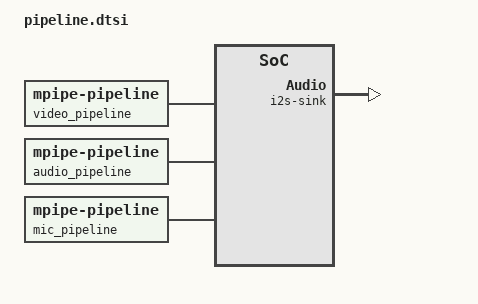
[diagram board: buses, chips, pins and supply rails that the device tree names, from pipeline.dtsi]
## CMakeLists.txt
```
# Copyright 2024-2026 NXP
# SPDX-License-Identifier: Apache-2.0

cmake_minimum_required(VERSION 3.20.0)

find_package(Zephyr REQUIRED HINTS $ENV{ZEPHYR_BASE})
project(android_link)

target_sources(app PRIVATE
  src/main.c
  src/touch.c
  src/display.c
  src/control_msg.c
)
target_sources_ifdef(CONFIG_ANDROID_LINK_MIC app PRIVATE src/mic_mode.c)

target_include_directories(app PRIVATE src)

if(CONFIG_NET_STACK_CODE_RELOCATE)
  # Relocate the networking stack and the L2 layer into the RAM named by
  # CONFIG_NET_STACK_CODE_RAM_NAME (ITCM on the RT1170), as the original demo does.
  zephyr_code_relocate(LIBRARY subsys__net__ip
    LOCATION "${CONFIG_NET_STACK_CODE_RAM_NAME}_TEXT" NOKEEP)
  zephyr_code_relocate(LIBRARY subsys__net
    LOCATION "${CONFIG_NET_STACK_CODE_RAM_NAME}_TEXT" NOKEEP)
  if(CONFIG_NET_L2_ETHERNET)
    zephyr_code_relocate(LIBRARY drivers__ethernet
      LOCATION "${CONFIG_NET_STACK_CODE_RAM_NAME}_TEXT" NOKEEP)
    zephyr_code_relocate(LIBRARY subsys__net__l2__ethernet
      LOCATION "${CONFIG_NET_STACK_CODE_RAM_NAME}_TEXT" NOKEEP)
  endif()
endif()
```

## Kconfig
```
# Copyright 2024-2026 NXP
# SPDX-License-Identifier: Apache-2.0

DT_CHOSEN_Z_DISPLAY := zephyr,display
DT_DISPLAY_PATH := $(dt_chosen_path,$(DT_CHOSEN_Z_DISPLAY))
DT_DISPLAY_WIDTH := $(dt_node_int_prop_int,$(DT_DISPLAY_PATH),width)
DT_DISPLAY_HEIGHT := $(dt_node_int_prop_int,$(DT_DISPLAY_PATH),height)
# A frame of the panel's size in RGB565
DT_DISPLAY_FRAME_SIZE := $(mul,$(mul,$(DT_DISPLAY_WIDTH),$(DT_DISPLAY_HEIGHT)),2)

# The decoder's pool holds frames of the panel's size
config MPIPE_IMG_JPEG_DECODER_MAX_OUT_FRAME_SIZE
	default $(DT_DISPLAY_FRAME_SIZE) if $(dt_chosen_enabled,$(DT_CHOSEN_Z_DISPLAY))

source "Kconfig.zephyr"

config NET_STACK_CODE_RELOCATE
	bool "Relocate networking code into RAM"
	select CODE_DATA_RELOCATION
	help
	  Relocate networking code into RAM. Can improve performance on
	  platforms with fast code RAM.

if NET_STACK_CODE_RELOCATE

config NET_STACK_CODE_RAM_NAME
	string "Networking code RAM location"
	default "RAM"
	help
	  Region to relocate networking code to

endif # NET_STACK_CODE_RELOCATE

config ANDROID_LINK_AUDIO
	bool "Play the phone's audio"
	default y
	depends on MPIPE_AUD
	help
	  Accept the phone's audio connection and play the raw PCM it carries
	  through a second pipeline ending in the I2S codec sink. The phone
	  must be launched with audio enabled and the raw codec.

config ANDROID_LINK_MIC
	bool "Send the board's microphone to the phone"
	default y
	depends on MPIPE_AUD && AUDIO_DMIC
	help
	  Accept a fourth connection from the phone, after the control one,
	  and send it the board's microphone as raw PCM, 16 kHz, 32-bit, two
	  channels, through a third pipeline from the DMIC source to a socket
	  sink. What the phone does with the stream, play it on its speaker,
	  feed it to the applications recording from its microphone, or drop
	  it, is set by a control message. The phone must be launched with the
	  microphone channel enabled.

config ANDROID_LINK_PORT
	int "TCP port the board listens on"
	range 1 65535
	default 5000
	help
	  Port of the listening socket the phone's server connects to for the
	  video, audio, control and microphone streams (REMOTE_PORT in its
	  launch script).

if WIFI

config ANDROID_LINK_WIFI_SSID
	string "Name of the board's Wi-Fi network"
	default "zephyr-link"
	help
	  SSID of the soft-AP the board starts. The phone's server joins it
	  by itself when launched with the same name (WIFI_SSID).

config ANDROID_LINK_WIFI_PSK
	string "Passphrase of the board's Wi-Fi network"
	default "zephyrdemo"
	help
	  WPA2 passphrase of the soft-AP, at least 8 characters; empty for an
	  open network. The phone's server needs the same value (WIFI_PSK).

endif # WIFI

choice
	prompt "Control Event protocol"
	default CONTROL_EVENT_TCP

config CONTROL_EVENT_UDP
	bool "Control UDP protocol"
	help
	  Control events are reported using the UDP protocol.

config CONTROL_EVENT_TCP
	bool "Control TCP protocol"
	help
	  Touch events are reported using the TCP protocol.

endchoice
```

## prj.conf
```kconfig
#
# Copyright 2024-2026 NXP
#
# SPDX-License-Identifier: Apache-2.0
#

# Kernel options
CONFIG_MAIN_STACK_SIZE=8192
CONFIG_INIT_STACKS=y

# Shell
CONFIG_SHELL=y
CONFIG_NET_SHELL=y
CONFIG_DEVICE_SHELL=y

# Logging
CONFIG_PRINTK=y
CONFIG_LOG=y
CONFIG_NET_LOG=y

# Display
CONFIG_DISPLAY=y

# mpipe media pipeline framework
# Audio capabilities carry five fields; an intersection may hold one more
CONFIG_MPIPE_STRUCTURE_MAX_FIELDS=6
# Video: the source and two queues; audio and microphone: a source and a queue
# each; plus slack
CONFIG_MPIPE_THREADS_NUM=10
CONFIG_MPIPE_THREAD_STACK_SIZE=4096
# The overlay draws the demo's messages on the frames; its text comes from the
# character framebuffer's built-in bitmap fonts
CONFIG_CHARACTER_FRAMEBUFFER=y
CONFIG_CHARACTER_FRAMEBUFFER_USE_DEFAULT_FONTS=y
# One player per pipeline: video, audio and microphone
CONFIG_ZBUS_PRIORITY_BOOST=n

# Audio output: the I2S codec sink, fed 10 ms blocks of 48 kHz 16-bit stereo
# (1920 bytes) from a slab of up to 32 of them: 15 queued, up to 16 in the I2S
# driver's queue, the one being filled.
CONFIG_I2S=y
CONFIG_AUDIO_CODEC=y
CONFIG_MPIPE_AUD_BUFFER_POOL_SZ_MAX=4096
CONFIG_MPIPE_AUD_BUFFER_POOL_NUM_MAX=32

# Microphone input: the DMIC source, 10 ms blocks of 16 kHz 32-bit mono (640
# bytes) from a slab of its own: the driver's queue, 10 queued, slack. Two
# slabs, one per audio pipeline, each with a slice of the store.
CONFIG_AUDIO_DMIC=y
CONFIG_MPIPE_AUD_BUFFER_POOL_COUNT=2

# Longest JPEG frame accepted, and the size of the parser's copy buffers. A
# text-heavy phone screen compresses to well over 256 KB. The decoded frames
# are sized for the panel by the sample's Kconfig.
CONFIG_MPIPE_IMG_JPEG_PARSER_MAX_FRAME_SIZE=524288

# A frame inside one receive chunk reaches the decoder as a view of the chunk;
# only a frame split across two chunks is copied into one of these buffers.
CONFIG_MPIPE_IMG_JPEG_PARSER_POOL_NUM=4

# Buffer headers in flight across the three pipelines: the video views
# (pending input pieces, frames in the queues and in the decoder, decoded
# frames), the audio blocks in the audio queue and the I2S driver, the
# microphone blocks in the DMIC driver and the microphone queue, plus slack.
CONFIG_MPIPE_NET_BUF_POOL_COUNT=64

# Decoded frames in flight: one being decoded, one waiting in queue_dec, one
# being displayed, plus slack for a chain of frames decoded from one read.
CONFIG_MPIPE_IMG_JPEG_DECODER_POOL_NUM=6

# The queues between the threads are bounded and leak their oldest buffer
# (see main.c); this is the largest size a queue may be set to, the audio one.
CONFIG_MPIPE_BASE_QUEUE_MAX_SIZE=16

# The stream is received into 256 KB chunks, two to three frames each, and
# every frame inside a chunk reaches the decoder as a view of it. Four chunks:
# one being filled, one or two pinned by frames waiting or being decoded.
CONFIG_MPIPE_NET_SRC_BUF_SIZE=262144
CONFIG_MPIPE_NET_SRC_NUM_BUFS=4


# Generic networking options
CONFIG_NETWORKING=y
CONFIG_NET_STATISTICS=y
CONFIG_NET_TC_TX_COUNT=1
CONFIG_NET_SOCKETS=y
CONFIG_NET_SOCKETS_SERVICE_THREAD_PRIO=3

CONFIG_NET_IPV6=n
CONFIG_NET_IPV4=y
CONFIG_NET_IF_UNICAST_IPV4_ADDR_COUNT=1
CONFIG_NET_IF_MAX_IPV4_COUNT=2

CONFIG_NET_TCP=y
# Probe a silent phone: a Wi-Fi drop closes nothing by itself
CONFIG_NET_TCP_KEEPALIVE=y

# DHCPV4 Server & interface
CONFIG_NET_DHCPV4=y
CONFIG_NET_DHCPV4_SERVER=y

CONFIG_NET_CONTEXT_NET_PKT_POOL=y
CONFIG_NET_MAX_CONTEXTS=64

# Packet pools for the Ethernet and native_sim builds; overlay-wifi.conf sets
# larger ones. The defaults, 36 buffers of 128 bytes each way, hold under
# 5 KB: too little for a megabyte per second of video coming in and the
# microphone's 64 KB/s going out beside the acknowledgements.
CONFIG_NET_PKT_RX_COUNT=32
CONFIG_NET_PKT_TX_COUNT=32
CONFIG_NET_BUF_RX_COUNT=64
CONFIG_NET_BUF_TX_COUNT=64
CONFIG_NET_BUF_DATA_SIZE=1024

CONFIG_NET_MAX_CONN=64
CONFIG_NET_L2_ETHERNET=y

CONFIG_NET_CONFIG_SETTINGS=y
CONFIG_NET_CONFIG_MY_IPV4_ADDR="192.0.2.1"
CONFIG_NET_CONFIG_MY_IPV4_NETMASK="255.255.255.0"

CONFIG_SHELL_CMDS_RESIZE=n

CONFIG_CACHE_MANAGEMENT=y
CONFIG_SPEED_OPTIMIZATIONS=y

CONFIG_EVENTS=y

# Optimization for network
CONFIG_SYSTEM_WORKQUEUE_STACK_SIZE=4096
CONFIG_NET_TCP_WORKQ_STACK_SIZE=4096
CONFIG_NET_SOCKETS_SERVICE_STACK_SIZE=4096
CONFIG_NET_RX_STACK_SIZE=4096
CONFIG_NET_TX_STACK_SIZE=4096
CONFIG_NET_MGMT_EVENT_STACK_SIZE=4096

# Config Input: the touch controller and the user button
CONFIG_INPUT=y
CONFIG_GPIO=y
CONFIG_INPUT_GT911_MAX_TOUCH_POINTS=5
CONFIG_INPUT_QUEUE_MAX_MSGS=128
# The input thread runs the touch and button callbacks, a few comparisons and
# a queue put each. Above the audio (4) and video (5, decoder 6) threads: at
# Zephyr's default, the lowest priority, the decoder starved it, its queue
# filled with a finger's 4 events per 10 ms poll and releases were dropped.
CONFIG_INPUT_THREAD_PRIORITY_OVERRIDE=y
CONFIG_INPUT_THREAD_PRIORITY=3
CONFIG_NET_SOCKET_MAX_SEND_WAIT=10
```

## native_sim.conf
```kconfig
# Copyright 2026 NXP
# SPDX-License-Identifier: Apache-2.0
#
# Host-run convenience overlay for native_sim, applied by run_native_sim.sh.
# It is not used by a board build, so it changes nothing on the RT1170 target.

# Bind the native pty UART, and with it the Zephyr shell, to the process stdin
# and stdout rather than a separate pseudo-tty. The interactive player prompt
# (p/s/r/q) then appears in the terminal that launched the script.
CONFIG_UART_NATIVE_PTY_0_ON_STDINOUT=y

# With the shell sharing that one terminal, route the log output through the
# shell backend so log lines are serialized with the prompt instead of
# interleaving with and corrupting the line being typed.
CONFIG_SHELL_LOG_BACKEND=y
```

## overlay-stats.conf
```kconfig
# Copyright 2026 NXP
# SPDX-License-Identifier: Apache-2.0
#
# Investigation aid: per-thread CPU accounting and stack usage from the shell
# ("kernel threads", "kernel stacks", "net stats"), with a log buffer large
# enough for the per-second stage statistics. Logging stays deferred: in
# immediate mode every thread writes to the console itself, and a burst of
# errors then stalls the threads behind a 115200 baud UART.

CONFIG_THREAD_RUNTIME_STATS=y
CONFIG_THREAD_NAME=y
CONFIG_THREAD_MONITOR=y
CONFIG_THREAD_STACK_INFO=y
CONFIG_INIT_STACKS=y
CONFIG_KERNEL_SHELL=y
CONFIG_NET_SHELL=y
CONFIG_LOG_BUFFER_SIZE=8192

# The per-second stage statistics (socket source, parser, decoder, display sink)
CONFIG_MPIPE_STAGE_STATS=y
```

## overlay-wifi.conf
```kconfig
#
# Copyright 2024-2026 NXP
#
# SPDX-License-Identifier: Apache-2.0
#

# Zephyr Wi-Fi configuration for MURATA IW61x

# Config WIFI
CONFIG_WIFI=y
CONFIG_NXP_WIFI_SOFTAP_SUPPORT=y
CONFIG_ETH_NXP_ENET=n
CONFIG_MDIO_NXP_ENET=n
CONFIG_ETH_PHY_DRIVER=n
CONFIG_WIFI_NXP=y
CONFIG_NXP_IW61X=y
CONFIG_NXP_WIFI_SHELL=y
CONFIG_NXP_IW612_MURATA_2EL_M2=y
CONFIG_NET_DHCPV4_SERVER_ADDR_COUNT=32
CONFIG_NET_DHCPV4_SERVER_ICMP_PROBE_TIMEOUT=100
CONFIG_NET_L2_WIFI_SHELL=y
CONFIG_NET_L2_WIFI_MGMT=y

CONFIG_THREAD_CUSTOM_DATA=y
CONFIG_EVENTS=y
CONFIG_SYS_HEAP_AUTO=y
CONFIG_SCHED_MULTIQ=y

#firmware
CONFIG_NXP_MONOLITHIC_WIFI=y

# wifi driver
CONFIG_WIFI_SHELL_MAX_AP_STA=8
CONFIG_WIFI_MGMT_AP_MAX_NUM_STA=8
CONFIG_NXP_WIFI_TX_TASK_STACK_SIZE=4096
CONFIG_NXP_WIFI_DRIVER_TASK_STACK_SIZE=4096
CONFIG_NXP_WIFI_POWERSAVE_TASK_STACK_SIZE=4096
# net threads priority
CONFIG_IDLE_STACK_SIZE=1024

CONFIG_NET_MGMT_EVENT_QUEUE_SIZE=40

CONFIG_NET_CONFIG_AUTO_INIT=n

# CONFIG_WIFI_LOG_LEVEL_DBG=y
# CONFIG_NXP_WIFI_EXTRA_DEBUG=y
# CONFIG_NXP_WIFI_NET_DEBUG=y
# CONFIG_NXP_WIFI_WLCMGR_DEBUG=y
# CONFIG_NXP_WIFI_UAP_DEBUG=y
# CONFIG_NXP_WIFI_PKT_DEBUG=y

CONFIG_NXP_WIFI_SOFTAP_IP_ADDRESS="192.0.2.1"
CONFIG_NXP_WIFI_SOFTAP_IP_GATEWAY="192.0.2.1"
CONFIG_NXP_WIFI_SOFTAP_IP_MASK="255.255.255.0"
# DHCPv4 pool base must not overlap the soft-AP/server address (192.0.2.1).
CONFIG_NXP_WIFI_SOFTAP_IP_BASE="192.0.2.10"

# Lets the NXP Wi-Fi driver move its receive and transmit paths into the TCMs.
CONFIG_CODE_DATA_RELOCATION_SRAM=y

CONFIG_NET_PKT_RX_COUNT=96
CONFIG_NET_PKT_TX_COUNT=96
CONFIG_NET_BUF_RX_COUNT=128
CONFIG_NET_BUF_TX_COUNT=128
# Must be a multiple of MLAN_SDIO_BLOCK_SIZE (256) for the NXP WiFi
# SDIO zero-copy TX/RX path (see wifi-sdio.c compile-time assertion).
CONFIG_NET_BUF_DATA_SIZE=2560
CONFIG_NET_TC_TX_COUNT=1
CONFIG_NET_TC_RX_COUNT=1
CONFIG_NET_MGMT_EVENT_QUEUE_SIZE=20
CONFIG_NET_IF_MAX_IPV4_COUNT=3
CONFIG_NET_IPV4_FRAGMENT=y
CONFIG_NET_IPV4_FRAGMENT_MAX_COUNT=3
CONFIG_NET_IPV4_FRAGMENT_MAX_PKT=7
CONFIG_NET_IPV4_FRAGMENT_TIMEOUT=3
CONFIG_NET_L2_ETHERNET=y


CONFIG_SDIO_STACK=y
CONFIG_SD_CMD_RETRIES=3
CONFIG_SD_RETRY_COUNT=0

# CONFIG_NXP_WIFI_IO_DEBUG=y
# CONFIG_SD_LOG_LEVEL_DBG=y
# CONFIG_NXP_WIFI_PKT_DEBUG=y

CONFIG_NET_DEFAULT_IF_WIFI=y
CONFIG_SCHED_MULTIQ=y
CONFIG_NXP_WIFI_TX_RX_ZERO_COPY=y
CONFIG_NXP_WIFI_WMM_UAPSD=n
CONFIG_NXP_WIFI_ROAMING=n
CONFIG_NXP_WIFI_AUTO_POWER_SAVE=n
```

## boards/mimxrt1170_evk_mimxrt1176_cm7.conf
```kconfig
# Copyright 2026 NXP
# SPDX-License-Identifier: Apache-2.0

# Set the SDRAM up through the device configuration data block rather than the
# board's default external memory configuration data. Everything this sample
# streams through lives in SDRAM.
CONFIG_DEVICE_CONFIGURATION_DATA=y

# Run the networking stack from ITCM rather than from the XIP flash.
CONFIG_NET_STACK_CODE_RELOCATE=y
CONFIG_NET_STACK_CODE_RAM_NAME="ITCM"

# Audio: the WM8962 codec on the EVKB, configured over I3C, fed by SAI1
CONFIG_I3C=y
CONFIG_AUDIO_CODEC_WM8962=y
CONFIG_DMA_TCD_QUEUE_SIZE=4

# The phone sends its audio in real time, so the only margin against Wi-Fi
# jitter is what the I2S sink queues before it starts: 100 ms, out of a
# driver queue of 16 blocks. An underrun restarts the stream with a gap.
CONFIG_I2S_TX_BLOCK_COUNT=16
CONFIG_MPIPE_AUD_I2S_SINK_PRIME_BLOCKS=10

# Read the touch controller when its interrupt line says it has a report, rather
# than polling it every 10 ms: a sample is read when it happens.
CONFIG_INPUT_GT911_INTERRUPT=y
```

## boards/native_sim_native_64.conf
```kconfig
#
# Copyright 2024-2026 NXP
#
# SPDX-License-Identifier: Apache-2.0
#

# native_sim runs on the host: use the SDL display and SDL pointer input
# instead of the MIPI panel / GT911 touch controller of the hardware target.
CONFIG_SDL_DISPLAY=y
CONFIG_INPUT=y
CONFIG_INPUT_SDL_TOUCH=y

# Networking is provided by the native TAP Ethernet driver on the host.
CONFIG_ETH_NATIVE_TAP=y
CONFIG_NET_L2_ETHERNET=y

# The following options are only meaningful on the Cortex-M hardware target
# and must be disabled for the host build.
CONFIG_CACHE_MANAGEMENT=n
CONFIG_NET_STACK_CODE_RELOCATE=n

# Verbose mpipe logging to trace pipeline negotiation and per-frame display
# writes while bringing up the sample on native_sim.
CONFIG_LOG=y
CONFIG_MPIPE_LOG_LEVEL_DBG=y


# Audio on the host: the emulated I2S writes what it is given to a file, the
# dummy codec accepts any configuration.
CONFIG_I2S=y
CONFIG_I2S_NATIVE_SIM=y
CONFIG_AUDIO_CODEC=y
CONFIG_AUDIO_CODEC_DUMMY=y
CONFIG_I2S_NATIVE_SIM_TX_PATH="build/android_link_audio_tx.pcm"
# The emulated I2S queues eight blocks; start 60 ms behind the sender against
# the jitter of a stream arriving in real time through the host's TAP polling.
CONFIG_MPIPE_AUD_I2S_SINK_PRIME_BLOCKS=6

# Microphone on the host: the emulated DMIC
CONFIG_AUDIO_DMIC=y
CONFIG_AUDIO_DMIC_NATIVE_SIM=y
```

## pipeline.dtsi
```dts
/*
 * Copyright 2026 NXP
 *
 * SPDX-License-Identifier: Apache-2.0
 */

/ {
	/*
	 * The frames the phone sends, decoded and displayed. The queues split
	 * the graph across threads: the reader keeps filling the next buffer
	 * while a frame is decoded, and the decoder while a frame is displayed.
	 */
	video_pipeline: video-pipeline {
		compatible = "zephyr,mpipe-pipeline";

		video_src: video-src {
			compatible = "zephyr,mpipe-socket-src";
		};

		jpeg_parser: jpeg-parser {
			compatible = "zephyr,mpipe-img-jpeg-parser";
			sources = <&video_src>;
		};

		/*
		 * The parser only tells the format: the size the phone sends,
		 * the one of the panel, is pinned here
		 */
		stream_filter: caps-filter {
			compatible = "zephyr,mpipe-caps-filter";
			sources = <&jpeg_parser>;
			media = "video";
			pixel-format = "JPEG";
			width = <720>;
			height = <1280>;
		};

		/*
		 * A mirror shows the newest frame: a full queue drops its
		 * oldest one. The decoder runs below every other thread of the
		 * demo, one priority under the streaming threads.
		 */
		parsed_queue: parsed-queue {
			compatible = "zephyr,mpipe-queue";
			sources = <&stream_filter>;
			size = <1>;
			leak = "oldest";
			thread-priority = <6>;
		};

		jpeg_decoder: jpeg-decoder {
			compatible = "zephyr,mpipe-img-jpeg-decoder";
			sources = <&parsed_queue>;
		};

		decoded_queue: decoded-queue {
			compatible = "zephyr,mpipe-queue";
			sources = <&jpeg_decoder>;
			size = <1>;
			leak = "oldest";
		};

		/*
		 * The application draws the messages of the demo. No tee sits
		 * between the decoder and the overlay, so it draws in place.
		 */
		overlay: overlay {
			compatible = "zephyr,mpipe-vid-overlay";
			sources = <&decoded_queue>;
			mode = "in-place";
		};

		disp-sink {
			compatible = "zephyr,mpipe-disp-sink";
			sources = <&overlay>;
		};
	};

	/*
	 * The raw PCM the phone sends, 48 kHz 16-bit stereo, played in blocks
	 * of 10 ms. The queue holds 150 ms of them against the jitter of the
	 * link. The audio threads run above the video decoder: a late block is
	 * lost, a late frame is only late.
	 */
	audio_pipeline: audio-pipeline {
		compatible = "zephyr,mpipe-pipeline";
		thread-priority = <4>;

		audio_src: audio-src {
			compatible = "zephyr,mpipe-socket-src";
		};

		audio_parser: audio-parser {
			compatible = "zephyr,mpipe-aud-raw-parser";
			sources = <&audio_src>;
			sample-rate = <48000>;
			bit-width = <16>;
			num-channels = <2>;
			frame-interval = <10000>;
		};

		audio_queue: audio-queue {
			compatible = "zephyr,mpipe-queue";
			sources = <&audio_parser>;
			size = <15>;
			leak = "oldest";
			thread-priority = <4>;
		};

		i2s-sink {
			compatible = "zephyr,mpipe-aud-i2s-codec-sink";
			sources = <&audio_queue>;
		};
	};

	/*
	 * The microphone of the board sent to the phone, 16 kHz 32-bit, both
	 * slots of the PDM data line, in blocks of 10 ms. The queue keeps a
	 * slow link from holding the capture thread, 100 ms deep.
	 */
	mic_pipeline: mic-pipeline {
		compatible = "zephyr,mpipe-pipeline";
		thread-priority = <4>;

		mic_src: mic-src {
			compatible = "zephyr,mpipe-aud-dmic-src";
		};

		mic_filter: caps-filter {
			compatible = "zephyr,mpipe-caps-filter";
			sources = <&mic_src>;
			media = "audio-pcm";
			sample-rate = <16000>;
			bit-width = <32>;
			num-channels = <2>;
			frame-interval = <10000>;
		};

		/* Lifts the soft signal of the microphone to a speaking level */
		mic_gain: gain {
			compatible = "zephyr,mpipe-aud-gain";
			sources = <&mic_filter>;
			gain = <200>;
		};

		mic_queue: mic-queue {
			compatible = "zephyr,mpipe-queue";
			sources = <&mic_gain>;
			size = <10>;
			leak = "oldest";
			thread-priority = <4>;
		};

		mic_sink: mic-sink {
			compatible = "zephyr,mpipe-socket-sink";
			sources = <&mic_queue>;
		};
	};
};
```

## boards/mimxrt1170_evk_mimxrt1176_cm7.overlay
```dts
/*
 * Copyright 2026 NXP
 *
 * SPDX-License-Identifier: Apache-2.0
 */

/* The codec takes its master clock from the SAI */
&sai1 {
	mclk-output;
};

/*
 * The board file declares the red user LED D34 active low; on the EVKB rev B
 * it lights on a high level. The microphone mode shows on it.
 */
&red_led {
	gpios = <&gpio9 25 GPIO_ACTIVE_HIGH>;
};

/* Likewise the user button SW7: declared active high, pressed is low on the EVKB rev B */
&user_button {
	gpios = <&gpio13 0 GPIO_ACTIVE_LOW>;
};

/*
 * The on-board digital microphone: both slots of PDM data line 0. The
 * controller's output range adjustment, in dB, lifts the soft signal of the
 * microphone (speech peaked near -18 dB full scale on the phone) by 6 dB.
 */
dmic_dev: &micfil {
	channel0: micfil-channel@0 {
		status = "okay";
		decimation-filter-gain = <6>;
	};

	channel1: micfil-channel@1 {
		status = "okay";
		decimation-filter-gain = <6>;
	};
};
```

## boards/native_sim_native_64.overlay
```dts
/*
 * Copyright 2024-2026 NXP
 *
 * SPDX-License-Identifier: Apache-2.0
 */

/*
 * native_sim uses the SDL display and the SDL pointer input already declared
 * by the board devicetree (chosen zephyr,display = &sdl_dc and
 * zephyr,touch = &input_sdl_touch). The window takes the size of a phone's
 * screen in portrait; the frame size the sample expects follows it (the
 * caps filter of the video pipeline) and the sender must stream that
 * size. The audio goes to the emulated I2S through the dummy codec, and the
 * microphone is the emulated DMIC.
 */

/ {
	aliases {
		i2s-codec-tx = &i2s_tx0;
	};
};

&sdl_dc {
	compatible = "zephyr,sdl-dc";
	width = <720>;
	height = <1280>;
};

dmic_dev: &dmic0 {
	status = "okay";
};

&i2s_tx0 {
	status = "okay";
};

&audio_codec {
	status = "okay";
};

#include "../pipeline.dtsi"
```

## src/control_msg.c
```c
/*
 * Copyright (C) 2018 Genymobile
 * Copyright (C) 2018-2025 Romain Vimont
 *
 * Licensed under the Apache License, Version 2.0 (the "License");
 * you may not use this file except in compliance with the License.
 * You may obtain a copy of the License at
 *
 *    http://www.apache.org/licenses/LICENSE-2.0
 *
 * Unless required by applicable law or agreed to in writing, software
 * distributed under the License is distributed on an "AS IS" BASIS,
 * WITHOUT WARRANTIES OR CONDITIONS OF ANY KIND, either express or implied.
 * See the License for the specific language governing permissions and
 * limitations under the License.
 */
#include "control_msg.h"

#include <assert.h>
#include <inttypes.h>
#include <stdlib.h>
#include <string.h>

#include "util/binary.h"

static void write_position(uint8_t *buf, const struct sc_position *position)
{
	sc_write32be(&buf[0], position->point.x);
	sc_write32be(&buf[4], position->point.y);
	sc_write16be(&buf[8], position->screen_size.width);
	sc_write16be(&buf[10], position->screen_size.height);
}

size_t sc_control_msg_serialize(const struct sc_control_msg *msg, unsigned char *buf)
{
	buf[0] = msg->type;
	switch (msg->type) {
	case SC_CONTROL_MSG_TYPE_INJECT_TOUCH_EVENT:
		buf[1] = msg->inject_touch_event.action;
		sc_write64be(&buf[2], msg->inject_touch_event.pointer_id);
		write_position(&buf[10], &msg->inject_touch_event.position);
		uint16_t pressure = sc_float_to_u16fp(msg->inject_touch_event.pressure);
		sc_write16be(&buf[22], pressure);
		sc_write32be(&buf[24], msg->inject_touch_event.action_button);
		sc_write32be(&buf[28], msg->inject_touch_event.buttons);
		return 32;
	case SC_CONTROL_MSG_TYPE_KEEP_ALIVE:
		return 1;
	case SC_CONTROL_MSG_TYPE_SET_MIC_MODE:
		buf[1] = msg->set_mic_mode.mode;
		return 2;
	default:
		return 0;
	}
}
```

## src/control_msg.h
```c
/*
 * Copyright (C) 2018 Genymobile
 * Copyright (C) 2018-2025 Romain Vimont
 *
 * Licensed under the Apache License, Version 2.0 (the "License");
 * you may not use this file except in compliance with the License.
 * You may obtain a copy of the License at
 *
 *    http://www.apache.org/licenses/LICENSE-2.0
 *
 * Unless required by applicable law or agreed to in writing, software
 * distributed under the License is distributed on an "AS IS" BASIS,
 * WITHOUT WARRANTIES OR CONDITIONS OF ANY KIND, either express or implied.
 * See the License for the specific language governing permissions and
 * limitations under the License.
 */

#ifndef __SC_CONTROLMSG_H__
#define __SC_CONTROLMSG_H__

#include <stdbool.h>
#include <stddef.h>
#include <stdint.h>

#include "android/input.h"
#include "android/keycodes.h"
#include "coords.h"

/* The longest message this side sends, the touch event; the clipboard text, which sized
 * the original constant at 256k, never leaves the board.
 */
#define SC_CONTROL_MSG_MAX_SIZE 32

/*
 * The types above 100 are the demo's own, understood by its server build only;
 * the scrcpy types stop well below.
 */
enum sc_control_msg_type {
	SC_CONTROL_MSG_TYPE_INJECT_KEYCODE = 0,
	SC_CONTROL_MSG_TYPE_INJECT_TOUCH_EVENT = 2,
	SC_CONTROL_MSG_TYPE_KEEP_ALIVE = 100,
	SC_CONTROL_MSG_TYPE_SET_MIC_MODE = 101,
	SC_CONTROL_MSG_TYPE_SET_AUDIO_SOURCE = 102,
	/* The phone's client exits for good instead of reconnecting */
	SC_CONTROL_MSG_TYPE_QUIT = 103,
};

/* What the phone sends on its audio connection */
enum sc_audio_source {
	/* What it plays: media, games */
	SC_AUDIO_SOURCE_PLAYBACK = 0,
	/* Its microphone, with its own echo cancelling */
	SC_AUDIO_SOURCE_MIC = 1,
};

/* What the phone does with the microphone stream the board sends it */
enum sc_mic_mode {
	/* Discard it */
	SC_MIC_MODE_OFF = 0,
	/* Play it on the phone's speaker */
	SC_MIC_MODE_SPEAKER = 1,
	/* Feed it to the applications recording from the phone's microphone */
	SC_MIC_MODE_INJECT = 2,
};

struct sc_control_msg {
	enum sc_control_msg_type type;
	union {
		struct {
			enum android_keyevent_action action;
			enum android_keycode keycode;
			uint32_t repeat;
			enum android_metastate metastate;
		} inject_keycode;
		struct {
			enum android_motionevent_action action;
			enum android_motionevent_buttons action_button;
			enum android_motionevent_buttons buttons;
			uint64_t pointer_id;
			struct sc_position position;
			float pressure;
		} inject_touch_event;
		struct {
			enum sc_mic_mode mode;
		} set_mic_mode;
		struct {
			enum sc_audio_source source;
		} set_audio_source;
	};
};

// buf size must be at least CONTROL_MSG_MAX_SIZE
// return the number of bytes written
size_t sc_control_msg_serialize(const struct sc_control_msg *msg, unsigned char *buf);

#endif /*__SC_CONTROLMSG_H__*/
```

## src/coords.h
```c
/*
 * Copyright (C) 2018 Genymobile
 * Copyright (C) 2018-2025 Romain Vimont
 *
 * Licensed under the Apache License, Version 2.0 (the "License");
 * you may not use this file except in compliance with the License.
 * You may obtain a copy of the License at
 *
 *    http://www.apache.org/licenses/LICENSE-2.0
 *
 * Unless required by applicable law or agreed to in writing, software
 * distributed under the License is distributed on an "AS IS" BASIS,
 * WITHOUT WARRANTIES OR CONDITIONS OF ANY KIND, either express or implied.
 * See the License for the specific language governing permissions and
 * limitations under the License.
 */

#ifndef SC_COORDS
#define SC_COORDS

#include <stdint.h>

struct sc_size {
	uint16_t width;
	uint16_t height;
};

struct sc_point {
	int32_t x;
	int32_t y;
};

struct sc_position {
	// The video screen size may be different from the real device screen size,
	// so store to which size the absolute position apply, to scale it
	// accordingly.
	struct sc_size screen_size;
	struct sc_point point;
};

#endif
```

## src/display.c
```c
/*
 * Copyright 2024-2026 NXP
 *
 * SPDX-License-Identifier: Apache-2.0
 */

#include <zephyr/kernel.h>
#include <zephyr/drivers/display.h>

#include "screen.h"

#define LOG_LEVEL CONFIG_LOG_DEFAULT_LEVEL
#include <zephyr/logging/log.h>
LOG_MODULE_REGISTER(display);

int display_setup(const struct device *const display_dev)
{
	int ret;

	if (!device_is_ready(display_dev)) {
		LOG_ERR("Device %s not found\n", display_dev->name);
		return -ENODEV;
	}

	LOG_INF("Display device: %s\n", display_dev->name);

	ret = display_set_pixel_format(display_dev, SCR_FORMAT);
	if (ret < 0) {
		LOG_ERR("Unable to set pixel format");
		return ret;
	}

	return display_blanking_off(display_dev);
}
```

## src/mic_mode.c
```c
/*
 * Copyright 2026 NXP
 *
 * SPDX-License-Identifier: Apache-2.0
 */

/*
 * The demo mode: what the phone does with the board's microphone, and what it
 * sends on its audio connection. The streams always flow while the phone is
 * connected; the mode only says what each side does with them. It outlives a
 * connection, so a phone that reconnects is told the mode in force.
 *
 * The modes name where the board's microphone goes: nowhere (mute), the
 * phone's speaker (speaker), the phone's applications as if the board were
 * its headset (headset), and intercom, where the phone sends its own
 * microphone instead of its playback. A short press of the user button
 * cycles them in that order; a press held longer wakes the phone's voice
 * assistant instead, as a headset button does, which is how the assistant is
 * called from across the room since its wake word cannot hear the board; a
 * press held for seconds ends the demo: the phone's client exits instead of
 * reconnecting. The green LED is lit when the board's microphone plays on the
 * phone (speaker, intercom), the red one when the phone's microphone is
 * involved (headset, intercom). The shell commands
 * "mode" and "assist" do the same from a terminal, and are all there is on a
 * board without button or LEDs. Each action is shown on the panel for a
 * moment.
 */

#include <zephyr/kernel.h>
#include <zephyr/drivers/gpio.h>
#include <zephyr/input/input.h>
#include <zephyr/shell/shell.h>

#include "osd.h"
#include "screen.h"

#define LOG_LEVEL CONFIG_LOG_DEFAULT_LEVEL
#include <zephyr/logging/log.h>
LOG_MODULE_REGISTER(demo_mode);

/* A press held this long calls the assistant instead of changing the mode */
#define LONG_PRESS_MS 700
/* A press held this long ends the demo on the phone */
#define QUIT_PRESS_MS 3000
/* How long a message stays on the panel */
#define OSD_MS        2000

#define LED_GREEN_NODE DT_ALIAS(led0)
#define LED_RED_NODE   DT_ALIAS(led1)

#if DT_NODE_HAS_STATUS_OKAY(LED_GREEN_NODE)
static const struct gpio_dt_spec led_green = GPIO_DT_SPEC_GET(LED_GREEN_NODE, gpios);
#else
static const struct gpio_dt_spec led_green;
#endif

#if DT_NODE_HAS_STATUS_OKAY(LED_RED_NODE)
static const struct gpio_dt_spec led_red = GPIO_DT_SPEC_GET(LED_RED_NODE, gpios);
#else
static const struct gpio_dt_spec led_red;
#endif

/*
 * Start with the microphone muted: a phone lying next to the board would
 * otherwise feed its own speaker back through the board's microphone.
 */
static enum demo_mode demo_mode = DEMO_MODE_MUTE;

/* What each mode asks of the phone */
static const struct {
	const char *name;
	enum sc_mic_mode mic_mode;
	enum sc_audio_source audio_source;
	bool green;
	bool red;
} modes[] = {
	[DEMO_MODE_MUTE] = {"mute", SC_MIC_MODE_OFF, SC_AUDIO_SOURCE_PLAYBACK, false, false},
	[DEMO_MODE_SPEAKER] = {"speaker", SC_MIC_MODE_SPEAKER, SC_AUDIO_SOURCE_PLAYBACK, true,
			       false},
	[DEMO_MODE_HEADSET] = {"headset", SC_MIC_MODE_INJECT, SC_AUDIO_SOURCE_PLAYBACK, false,
			       true},
	[DEMO_MODE_INTERCOM] = {"intercom", SC_MIC_MODE_SPEAKER, SC_AUDIO_SOURCE_MIC, true, true},
};

const char *demo_mode_name(enum demo_mode mode)
{
	return (mode < ARRAY_SIZE(modes)) ? modes[mode].name : "?";
}

enum demo_mode demo_mode_get(void)
{
	return demo_mode;
}

static void led_init(const struct gpio_dt_spec *led)
{
	if (led->port != NULL && gpio_is_ready_dt(led)) {
		(void)gpio_pin_configure_dt(led, GPIO_OUTPUT_INACTIVE);
	}
}

static void led_show(const struct gpio_dt_spec *led, bool on)
{
	if (led->port != NULL) {
		(void)gpio_pin_set_dt(led, on ? 1 : 0);
	}
}

void demo_mode_announce(void)
{
	control_send_mic_mode(modes[demo_mode].mic_mode);
	control_send_audio_source(modes[demo_mode].audio_source);
}

void demo_mode_set(enum demo_mode mode)
{
	if (mode >= ARRAY_SIZE(modes)) {
		return;
	}

	demo_mode = mode;
	led_show(&led_green, modes[mode].green);
	led_show(&led_red, modes[mode].red);
	LOG_INF("Mode: %s", modes[mode].name);
	osd_show(modes[mode].name, OSD_MS);
	demo_mode_announce();
}

static void assist(void)
{
	LOG_INF("Calling the assistant");
	osd_show("Assistant", OSD_MS);
	control_send_key(AKEYCODE_VOICE_ASSIST);
}

static void quit_phone(void)
{
	LOG_INF("Ending the demo on the phone");
	osd_show("Bye", OSD_MS);
	control_send_quit();
}

void demo_mode_init(void)
{
	led_init(&led_green);
	led_init(&led_red);
	demo_mode_set(demo_mode);
}

#if DT_HAS_COMPAT_STATUS_OKAY(gpio_keys)
/*
 * How long the button has been held, in stages: a release in stage 0 is a
 * short press, in stage 1 it calls the assistant, and stage 2 is reached while
 * still held and ends the demo at once.
 */
static uint8_t press_stage;

/*
 * The release event can be lost: it goes through the input queue with the
 * touch panel's events, which fill it when the panel is busy. So each timer
 * reads the button itself and a button found up is a release at that stage.
 */
#if DT_NODE_HAS_STATUS_OKAY(DT_ALIAS(sw0))
static const struct gpio_dt_spec button = GPIO_DT_SPEC_GET(DT_ALIAS(sw0), gpios);
#else
static const struct gpio_dt_spec button;
#endif

static bool button_held(void)
{
	return button.port == NULL || gpio_pin_get_dt(&button) != 0;
}

/* What a release does at the stage the press reached */
static void release_work_fn(struct k_work *work)
{
	ARG_UNUSED(work);

	switch (press_stage) {
	case 0:
		demo_mode_set((demo_mode + 1) % ARRAY_SIZE(modes));
		break;
	case 1:
		assist();
		break;
	default:
		break;
	}
}

static K_WORK_DEFINE(release_work, release_work_fn);

static void press_timer_fn(struct k_timer *timer)
{
	if (!button_held()) {
		k_work_submit(&release_work);
		return;
	}

	if (press_stage == 0U) {
		press_stage = 1;
		osd_show("Assistant", OSD_MS);
		k_timer_start(timer, K_MSEC(QUIT_PRESS_MS - LONG_PRESS_MS), K_NO_WAIT);
	} else {
		press_stage = 2;
		quit_phone();
	}
}

static K_TIMER_DEFINE(press_timer, press_timer_fn, NULL);

static void button_cb(struct input_event *evt, void *user_data)
{
	ARG_UNUSED(user_data);

	if (evt->type != INPUT_EV_KEY || evt->code != INPUT_KEY_0) {
		return;
	}

	if (evt->value != 0) {
		press_stage = 0;
		k_timer_start(&press_timer, K_MSEC(LONG_PRESS_MS), K_NO_WAIT);
		return;
	}

	k_timer_stop(&press_timer);
	k_work_submit(&release_work);
}

INPUT_CALLBACK_DEFINE(DEVICE_DT_GET_ANY(gpio_keys), button_cb, NULL);
#endif

#if defined(CONFIG_SHELL)
static int cmd_mode(const struct shell *sh, size_t argc, char **argv)
{
	if (argc < 2) {
		shell_print(sh, "Mode: %s", modes[demo_mode].name);
		return 0;
	}

	for (size_t i = 0; i < ARRAY_SIZE(modes); i++) {
		if (strcmp(argv[1], modes[i].name) == 0) {
			demo_mode_set(i);
			return 0;
		}
	}

	shell_error(sh, "Unknown mode %s", argv[1]);
	return -EINVAL;
}

SHELL_CMD_ARG_REGISTER(mode, NULL, "Demo mode: mode [mute|speaker|headset|intercom]", cmd_mode, 1,
		       1);

static int cmd_assist(const struct shell *sh, size_t argc, char **argv)
{
	ARG_UNUSED(sh);
	ARG_UNUSED(argc);
	ARG_UNUSED(argv);

	assist();

	return 0;
}

SHELL_CMD_REGISTER(assist, NULL, "Call the phone's voice assistant", cmd_assist);

static int cmd_phone_quit(const struct shell *sh, size_t argc, char **argv)
{
	ARG_UNUSED(sh);
	ARG_UNUSED(argc);
	ARG_UNUSED(argv);

	quit_phone();

	return 0;
}

SHELL_STATIC_SUBCMD_SET_CREATE(phone_cmds,
			       SHELL_CMD(quit, NULL, "End the demo on the phone", cmd_phone_quit),
			       SHELL_SUBCMD_SET_END);
SHELL_CMD_REGISTER(phone, &phone_cmds, "The phone's client", NULL);
#endif
```

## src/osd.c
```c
/*
 * Copyright 2026 NXP
 *
 * SPDX-License-Identifier: Apache-2.0
 */

#include <string.h>

#include <zephyr/kernel.h>
#include <zephyr/drivers/display.h>
#include <zephyr/drivers/video.h>
#include <zephyr/spinlock.h>

#include <zephyr/mpipe/vid/mpipe_vid_draw.h>

#include "osd.h"
#include "screen.h"

#define LOG_LEVEL CONFIG_LOG_DEFAULT_LEVEL
#include <zephyr/logging/log.h>
LOG_MODULE_REGISTER(osd);

#define OSD_BAND_HEIGHT 80
#define OSD_TEXT_SCALE  2
#define OSD_TEXT_MAX    32
#define OSD_BACKGROUND  0x000000
#define OSD_FOREGROUND  0xFFFFFF

static struct {
	struct k_spinlock lock;
	char text[OSD_TEXT_MAX];
	int64_t deadline;
	const struct device *display_dev;
	uint32_t painted;
	uint32_t frames;
	int64_t stats_at;
} osd;

/* The band the panel shows while nothing streams; the panel is RGB565 */
static uint8_t idle_band[SCR_WIDTH * OSD_BAND_HEIGHT * 2];

/* Paint the band with @p text centred into a frame or the idle buffer */
static void osd_paint(uint8_t *frame, uint16_t width, uint16_t height, uint32_t pixfmt,
		      const char *text)
{
	const struct mpipe_vid_rect band = {0, 0, width - 1, OSD_BAND_HEIGHT - 1};
	uint8_t scale = OSD_TEXT_SCALE;
	uint32_t tw = 0;
	uint32_t th = 0;
	int32_t x;
	int32_t y;

	(void)mpipe_vid_draw_fill(frame, width, height, pixfmt, &band, OSD_BACKGROUND);
	if (mpipe_vid_draw_text_size(scale, text, &tw, &th) != 0) {
		return;
	}

	/* A text too wide for the band is drawn smaller rather than cut */
	while (scale > 1U && tw > width) {
		scale--;
		(void)mpipe_vid_draw_text_size(scale, text, &tw, &th);
	}

	x = ((int32_t)width - (int32_t)tw) / 2;
	y = (OSD_BAND_HEIGHT - (int32_t)th) / 2;
	(void)mpipe_vid_draw_text(frame, width, height, pixfmt, MAX(x, 0), MAX(y, 0), scale,
				  OSD_FOREGROUND, text);
}

/* The overlay element's callback, once per frame on the display thread */
static void osd_draw(uint8_t *frame, uint16_t width, uint16_t height, uint32_t pixfmt,
		     const struct net_buf *in, void *user_data)
{
	char text[OSD_TEXT_MAX];
	k_spinlock_key_t key;
	bool active;

	ARG_UNUSED(in);
	ARG_UNUSED(user_data);

	key = k_spin_lock(&osd.lock);
	active = k_uptime_get() < osd.deadline;
	if (active) {
		memcpy(text, osd.text, sizeof(text));
	}
	k_spin_unlock(&osd.lock, key);

	if (active) {
		osd_paint(frame, width, height, pixfmt, text);
		osd.painted++;
	}
	osd.frames++;

	/* How many of the frames carried the band, once a second while one is shown */
	if (IS_ENABLED(CONFIG_MPIPE_STAGE_STATS) && k_uptime_get() - osd.stats_at >= 1000) {
		if (osd.painted > 0U) {
			LOG_INF("band on %u of %u frames", osd.painted, osd.frames);
		}
		osd.painted = 0;
		osd.frames = 0;
		osd.stats_at = k_uptime_get();
	}
}

void osd_show(const char *text, uint32_t ms)
{
	k_spinlock_key_t key = k_spin_lock(&osd.lock);

	strncpy(osd.text, text, sizeof(osd.text) - 1);
	osd.text[sizeof(osd.text) - 1] = '\0';
	osd.deadline = k_uptime_get() + ms;
	k_spin_unlock(&osd.lock, key);
}

void osd_idle(const char *text)
{
	const struct display_buffer_descriptor desc = {
		.buf_size = sizeof(idle_band),
		.width = SCR_WIDTH,
		.height = OSD_BAND_HEIGHT,
		.pitch = SCR_WIDTH,
	};
	int ret;

	if (osd.display_dev == NULL) {
		return;
	}

	osd_paint(idle_band, SCR_WIDTH, OSD_BAND_HEIGHT, VIDEO_PIX_FMT_RGB565, text);
	ret = display_write(osd.display_dev, 0, 0, &desc, idle_band);
	if (ret != 0) {
		LOG_WRN("Could not write the panel (%d)", ret);
	}
}

int osd_init(struct mpipe_vid_overlay *overlay, const struct device *display_dev)
{
	static const struct mpipe_vid_overlay_cb cb = {.fn = osd_draw};
	/* No tee sits between the decoder and the overlay: nothing else holds the frames */
	enum mpipe_vid_overlay_mode mode = MPIPE_VID_OVERLAY_MODE_IN_PLACE;

	osd.display_dev = display_dev;

	return mpipe_object_set_properties((struct mpipe_object *)overlay,
					   MPIPE_PROP_VID_OVERLAY_DRAW_CB, &cb,
					   MPIPE_PROP_VID_OVERLAY_MODE, &mode,
					   MPIPE_PROP_LIST_END);
}
```

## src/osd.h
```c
/*
 * Copyright 2026 NXP
 *
 * SPDX-License-Identifier: Apache-2.0
 */

#ifndef SCRMIRROR_OSD_H
#define SCRMIRROR_OSD_H

#include <stdint.h>

#include <zephyr/device.h>
#include <zephyr/mpipe/vid/mpipe_vid_overlay.h>

/*
 * Text on the panel: a band at the top of the frames the display sink shows,
 * drawn by the overlay element's callback while a message is active, and the
 * same band written to the panel directly while no phone streams.
 */

/* Set the overlay element's draw callback up and remember the panel */
int osd_init(struct mpipe_vid_overlay *overlay, const struct device *display_dev);
/* Show @p text on the frames for @p ms milliseconds; callable from any context */
void osd_show(const char *text, uint32_t ms);
/* Write @p text to the panel now, for when no pipeline draws on it */
void osd_idle(const char *text);

#endif
```

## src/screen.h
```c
/*
 * Copyright 2024-2026 NXP
 *
 * SPDX-License-Identifier: Apache-2.0
 */

#ifndef SCRMIRROR_SCREEN
#define SCRMIRROR_SCREEN

#include <zephyr/net/socket.h>

#include "control_msg.h"

#define SCR_WIDTH  DT_PROP(DT_CHOSEN(zephyr_display), width)
#define SCR_HEIGHT DT_PROP(DT_CHOSEN(zephyr_display), height)
#define SCR_BUF_SZ (SCR_WIDTH * SCR_HEIGHT * 2)
#define SCR_FORMAT PIXEL_FORMAT_RGB_565

#define EVENT_SOCKET_THREAD_STOP (1 << 1)
#define EVENT_TOUCH_ERROR        (1 << 2)
/* Pixels a finger must travel from the last point sent before a move is sent */
#define SENSITIVITY_RADIUS       2

/*
 * Maximum number of simultaneous touch points. The GT911 controller on the
 * rk055hdmipi4ma0 shield reports this through its own Kconfig; boards without
 * that driver (e.g. native_sim with the single-pointer SDL input) fall back
 * to a single touch point.
 */
#ifdef CONFIG_INPUT_GT911_MAX_TOUCH_POINTS
#define MAX_TOUCH_POINTS CONFIG_INPUT_GT911_MAX_TOUCH_POINTS
#else
#define MAX_TOUCH_POINTS 1
#endif

void control_init(void);
/*
 * Start sending touch events to the phone at @p client_addr: over @p control_fd,
 * the connection the phone opened for control, or over a UDP socket of its own.
 */
void connect_control_socket(int control_fd, struct sockaddr_in *client_addr);
int disconnect_control_socket(void);
bool control_socket_is_connected(void);
/* Tell the phone what to do with the microphone stream, and what to send; nothing when not connected */
void control_send_mic_mode(enum sc_mic_mode mode);
void control_send_audio_source(enum sc_audio_source source);
/* Press and release a key on the phone, as a headset button does */
void control_send_key(enum android_keycode keycode);
/* Tell the phone's client to exit for good */
void control_send_quit(void);

/*
 * What the demo does with the two audio streams, as one state the user button
 * cycles through. Each state is a microphone mode for the phone and a source
 * for the phone's audio connection.
 */
enum demo_mode {
	/* The phone's playback on the board, the board's microphone muted: the start mode */
	DEMO_MODE_MUTE,
	/* The phone's playback on the board, the board's microphone on the phone's speaker */
	DEMO_MODE_SPEAKER,
	/* The phone's playback on the board, the board's microphone as the phone's microphone */
	DEMO_MODE_HEADSET,
	/* The phone's microphone on the board, the board's microphone on the phone's speaker */
	DEMO_MODE_INTERCOM,
};

/*
 * Changing the mode sends the phone both messages when the control connection
 * is up; connecting announces the mode in force.
 */
enum demo_mode demo_mode_get(void);
void demo_mode_set(enum demo_mode mode);
void demo_mode_announce(void);
const char *demo_mode_name(enum demo_mode mode);
/* Set the LEDs up and show the initial mode */
void demo_mode_init(void);

int display_setup(const struct device *const display_dev);

#endif
```
